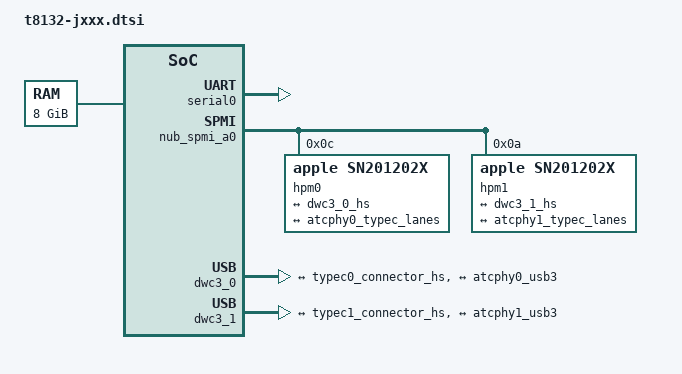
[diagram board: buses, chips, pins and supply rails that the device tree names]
// SPDX-License-Identifier: GPL-2.0+ OR MIT
/*
 * Apple M4 Mac mini, MacBook Air/Pro, iMac 24" (M4, 2024/2025)
 *
 * This file contains parts common to all Apple M4 devices using the t8132.
 *
 * target-type: J604, J623, J624, J713, J715, J773g
 *
 * Copyright The Asahi Linux Contributors
 */

/ {
	aliases {
		atcphy0 = &atcphy0;
		atcphy1 = &atcphy1;
		atcphy2 = &atcphy2;
		atcphy3 = &atcphy3;
		serial0 = &serial0;
	};

	chosen {
		#address-cells = <2>;
		#size-cells = <2>;
		ranges;

		stdout-path = "serial0";

		framebuffer0: framebuffer@0 {
			compatible = "apple,simple-framebuffer", "simple-framebuffer";
			reg = <0 0 0 0>; /* To be filled by loader */
			power-domains = <&ps_disp_cpu>, <&ps_dptx_phy>;
			/* Format properties will be added by loader */
			status = "disabled";
		};
	};

	reserved-memory {
		#address-cells = <2>;
		#size-cells = <2>;
		ranges;
		/* To be filled by loader */
	};

	memory@800000000 {
		device_type = "memory";
		reg = <0x8 0 0x2 0>; /* To be filled by loader */
	};
};

&serial0 {
	status = "okay";
};

/* USB */

/*
 * All models have at least these two ports.
 * Additional ports are added in t8132-j{604,624,773g}.dts respectively.
 */

&nub_spmi_a0 {
	hpm0: usb-pd@c {
		compatible = "apple,sn201202x";
		reg = <0xc SPMI_USID>;
		interrupts = <11 IRQ_TYPE_EDGE_RISING>,
			<13 IRQ_TYPE_EDGE_RISING>,
			<17 IRQ_TYPE_EDGE_RISING>,
			<19 IRQ_TYPE_EDGE_RISING>;
		interrupt-names = "irq", "select", "sleep", "wake";

		typec0: connector {
			label = "USB-C Left-front";
			compatible = "usb-c-connector";
			power-role = "dual";
			data-role = "dual";

			ports {
				#address-cells = <1>;
				#size-cells = <0>;
				port@0 {
					reg = <0>;
					typec0_connector_hs: endpoint {
						remote-endpoint = <&dwc3_0_hs>;
					};
				};
				port@1 {
					reg = <1>;
					typec0_connector_ss: endpoint {
						remote-endpoint = <&atcphy0_typec_lanes>;
					};
				};
			};
		};
	};

	hpm1: usb-pd@a {
		compatible = "apple,sn201202x";
		reg = <0xa SPMI_USID>;
		interrupts = <37 IRQ_TYPE_EDGE_RISING>,
			<39 IRQ_TYPE_EDGE_RISING>,
			<43 IRQ_TYPE_EDGE_RISING>,
			<45 IRQ_TYPE_EDGE_RISING>;
		interrupt-names = "irq", "select", "sleep", "wake";

		typec1: connector {
			label = "USB-C Left-back";
			compatible = "usb-c-connector";
			power-role = "dual";
			data-role = "dual";

			ports {
				#address-cells = <1>;
				#size-cells = <0>;
				port@0 {
					reg = <0>;
					typec1_connector_hs: endpoint {
						remote-endpoint = <&dwc3_1_hs>;
					};
				};
				port@1 {
					reg = <1>;
					typec1_connector_ss: endpoint {
						remote-endpoint = <&atcphy1_typec_lanes>;
					};
				};
			};
		};
	};
};

&dwc3_0 {
	ports {
		#address-cells = <1>;
		#size-cells = <0>;

		port@0 {
			reg = <0>;
			dwc3_0_hs: endpoint {
				remote-endpoint = <&typec0_connector_hs>;
			};
		};
		port@1 {
			reg = <1>;
			dwc3_0_ss: endpoint {
				remote-endpoint = <&atcphy0_usb3>;
			};
		};
	};
};

&dwc3_1 {
	ports {
		#address-cells = <1>;
		#size-cells = <0>;

		port@0 {
			reg = <0>;
			dwc3_1_hs: endpoint {
				remote-endpoint = <&typec1_connector_hs>;
			};
		};
		port@1 {
			reg = <1>;
			dwc3_1_ss: endpoint {
				remote-endpoint = <&atcphy1_usb3>;
			};
		};
	};
};

&atcphy0 {
	ports {
		#address-cells = <1>;
		#size-cells = <0>;

		port@0 {
			reg = <0>;
			atcphy0_typec_lanes: endpoint {
				remote-endpoint = <&typec0_connector_ss>;
			};
		};

		port@1 {
			reg = <1>;
			atcphy0_usb3: endpoint {
				remote-endpoint = <&dwc3_0_ss>;
			};
		};
	};
};

&atcphy1 {
	ports {
		#address-cells = <1>;
		#size-cells = <0>;

		port@0 {
			reg = <0>;
			atcphy1_typec_lanes: endpoint {
				remote-endpoint = <&typec1_connector_ss>;
			};
		};

		port@1 {
			reg = <1>;
			atcphy1_usb3: endpoint {
				remote-endpoint = <&dwc3_1_ss>;
			};
		};
	};
};
